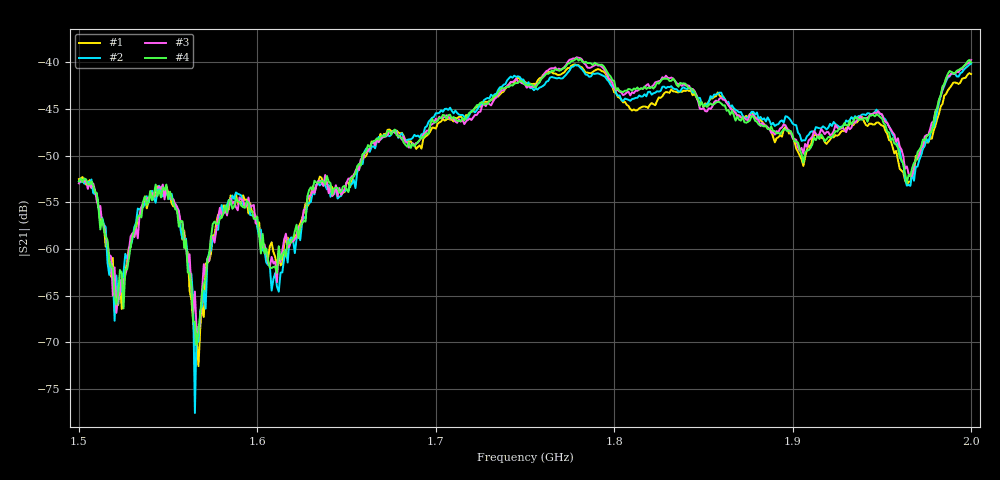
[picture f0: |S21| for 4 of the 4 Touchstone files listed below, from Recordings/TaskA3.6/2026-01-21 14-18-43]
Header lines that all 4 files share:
! NanoVNA-App by SYSJOINT et al v1.1.209 (+OD18)
! Start: 1,5GHz Stop: 2GHz Points: 501
! S-Parameter data: F S11 S21 S12 S22
# Hz S RI R 50
!  Frequency  S11_Real  S11_Imag  S21_Real  S21_Imag  S12_Real  S12_Imag  S22_Real  S22_Imag
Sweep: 1.5 GHz to 2 GHz
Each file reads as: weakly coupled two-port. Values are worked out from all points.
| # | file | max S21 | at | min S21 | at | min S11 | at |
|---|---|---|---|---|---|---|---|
| 1 | 0.s2p | -40.20 dB | 1.778 GHz | -72.5 dB | 1.567 GHz | -30.5 dB | 1.816 GHz |
| 2 | 1.s2p | -40.13 dB | 2 GHz | -77.6 dB | 1.565 GHz | -30.2 dB | 1.816 GHz |
| 3 | 2.s2p | -39.44 dB | 1.779 GHz | -69.0 dB | 1.567 GHz | -30.0 dB | 1.816 GHz |
| 4 | 3.s2p | -39.54 dB | 1.779 GHz | -70.2 dB | 1.566 GHz | -30.3 dB | 1.816 GHz |
